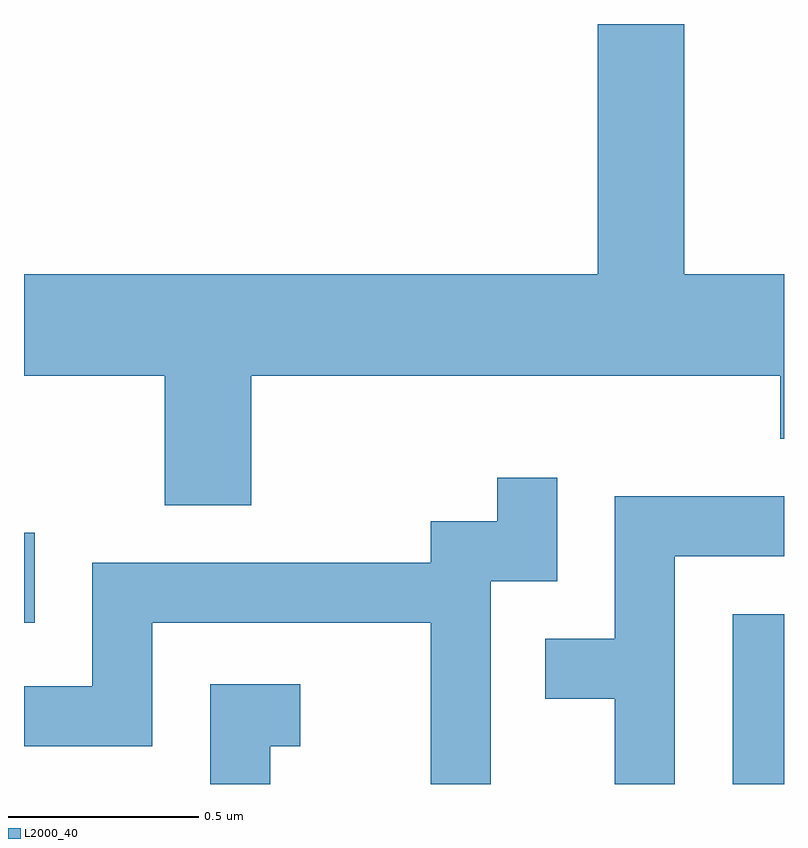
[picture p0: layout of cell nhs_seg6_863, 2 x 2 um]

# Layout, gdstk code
import gdstk
lib = gdstk.Library(unit=1e-6, precision=1e-09)
def R(c, l, rs):  # rectangles x0, y0, x1, y1
    for r in rs: c.add(gdstk.rectangle(r[:2], r[2:], *l))
def P(c, l, *ps):  # polygons
    for p in ps: c.add(gdstk.Polygon(p, *l))
L2000_40 = (2000, 40)

nhs_seg6_863 = lib.new_cell('nhs_seg6_863')
R(nhs_seg6_863, L2000_40, [(193.476,1571.162,193.611,1571.609), (191.611,1571.586,191.639,1571.823)])
P(nhs_seg6_863, L2000_40, [(192.209,1572.236),(193.601,1572.236),(193.601,1572.071),(193.611,1572.071),(193.611,1572.504),(193.349,1572.504),(193.349,1573.162),(193.121,1573.162),(193.121,1572.504),(191.611,1572.504),(191.611,1572.236),(191.981,1572.236),(191.981,1571.896),(192.209,1571.896)],
  [(192.839,1571.696),(193.014,1571.696),(193.014,1571.968),(192.856,1571.968),(192.856,1571.854),(192.681,1571.854),(192.681,1571.744),(191.791,1571.744),(191.791,1571.419),(191.611,1571.419),(191.611,1571.261),(191.949,1571.261),(191.949,1571.586),(192.681,1571.586),(192.681,1571.162),(192.839,1571.162)],
  [(193.324,1571.761),(193.611,1571.761),(193.611,1571.919),(193.166,1571.919),(193.166,1571.544),(192.983,1571.544),(192.983,1571.386),(193.166,1571.386),(193.166,1571.162),(193.324,1571.162)],
  [(192.259,1571.261),(192.338,1571.261),(192.338,1571.424),(192.101,1571.424),(192.101,1571.162),(192.259,1571.162)])

lib.write_gds('nhs_seg6_863.gds')
